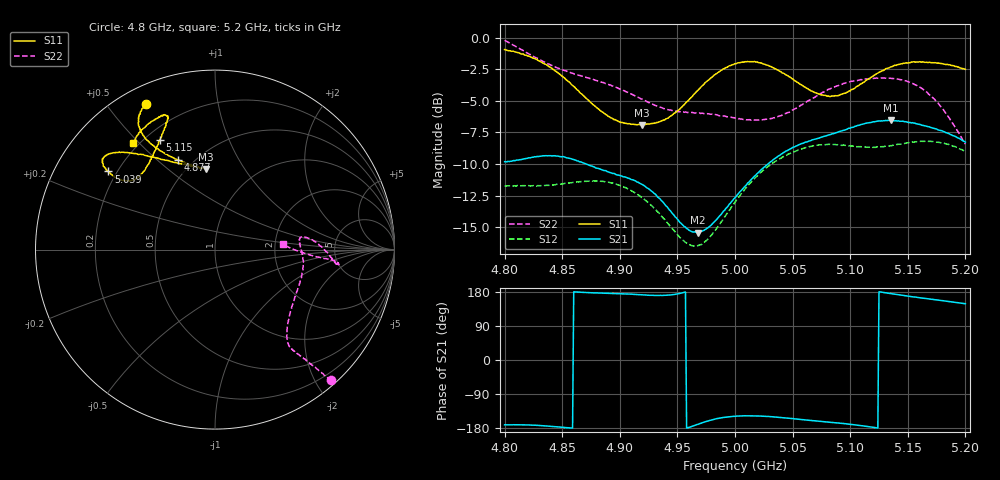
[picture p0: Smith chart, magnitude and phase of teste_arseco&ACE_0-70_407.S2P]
! Network Analyzer HP8722D
! Hewlett-Packard
! Data name: Linha & Wilkinson
! Saver's name: Rodrigo Anjos
! Comments: Teste da utilização de aquisição
! continua pelo VNA HP8722D
! Time and date: 8/5/2025 16:09
!  Frequency  S11  S21  S12  S22
# HZ  S  MA R 50
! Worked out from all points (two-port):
!   401 points, 4.8 GHz to 5.2 GHz, reference 50 ohm
!   highest |S21| = -6.52 dB at 5.135 GHz (marker M1); lowest = -15.4 dB at 4.968 GHz (marker M2)
!   |S21| within 3 dB of the highest: 4.821 GHz to 4.855 GHz (34.46 MHz wide, 0.712 % of centre); 5.035 GHz to end of sweep
!   lowest |S11| = -6.9 dB at 4.919 GHz (marker M3), VSWR 2.65, Z = 30.6 + j34.5 ohm
!   |S11| at or under -10 dB: nowhere
!   |S22| runs from -8.4 to -0.2 dB; largest |S21 - S12| = 0.83
!   S11 on the Smith chart (normalised r, x): 4.8 GHz: 0.08, +0.63; 4.877 GHz: 0.41, +0.58; 5.039 GHz: 0.17, +0.32; 5.115 GHz: 0.26, +0.59; 5.2 GHz: 0.18, +0.48
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4.8e9  0.898 115.4  0.3232 -171.0  0.2593 -86.5  0.9761 -48.3
4.819e9  0.8532 119.9  0.3325 -171.2  0.2587 -82.3  0.8742 -49.5
4.836e9  0.7839 122.1  0.3413 -174.1  0.2604 -76.7  0.7949 -50.5
4.867e9  0.599 117.2  0.3213 178.6  0.2698 -68.3  0.7055 -52.3
4.877e9  0.5425 112.6  0.3086 177.3  0.2715 -67.4  0.6841 -52.5
4.901e9  0.4619 100.2  0.2842 174.9  0.2591 -68.3  0.6239 -50.2
4.919e9  0.4515 96.2  0.2631 172.1  0.2331 -70.1  0.5723 -44.4
4.934e9  0.4643 100.4  0.232 170.2  0.2025 -70.4  0.5329 -36.5
4.955e9  0.5396 115.6  0.1807 177.8  0.1576 -60.7  0.5091 -22.6
4.968e9  0.6208 124.0  0.1694 -169.7  0.1503 -46.3  0.5028 -14.9
4.98e9  0.6989 130.0  0.1827 -157.9  0.1661 -33.2  0.4987 -8.8
5e9  0.7897 137.1  0.2324 -148.5  0.2238 -21.9  0.4814 -0.2
5.018e9  0.8021 141.3  0.2858 -147.6  0.2807 -19.5  0.4725 5.6
5.039e9  0.7366 143.8  0.3428 -151.5  0.332 -19.9  0.4905 8.2
5.067e9  0.6155 141.6  0.3944 -159.7  0.3729 -22.4  0.5746 3.1
5.088e9  0.5892 132.4  0.4212 -165.8  0.3768 -25.6  0.6436 -3.5
5.115e9  0.6833 116.8  0.4601 -175.5  0.3687 -28.3  0.6879 -7.1
5.134e9  0.7601 110.5  0.47 175.8  0.3729 -30.5  0.6917 -6.5
5.135e9  0.7669 110.3  0.472 175.3  0.3741 -30.5  0.6918 -6.3
5.162e9  0.8001 112.6  0.4509 163.6  0.3893 -37.4  0.6313 -4.9
5.179e9  0.7914 118.6  0.4291 156.9  0.3837 -42.8  0.5314 -3.2
5.2e9  0.7496 127.7  0.3861 148.5  0.3551 -48.5  0.3793 4.4
